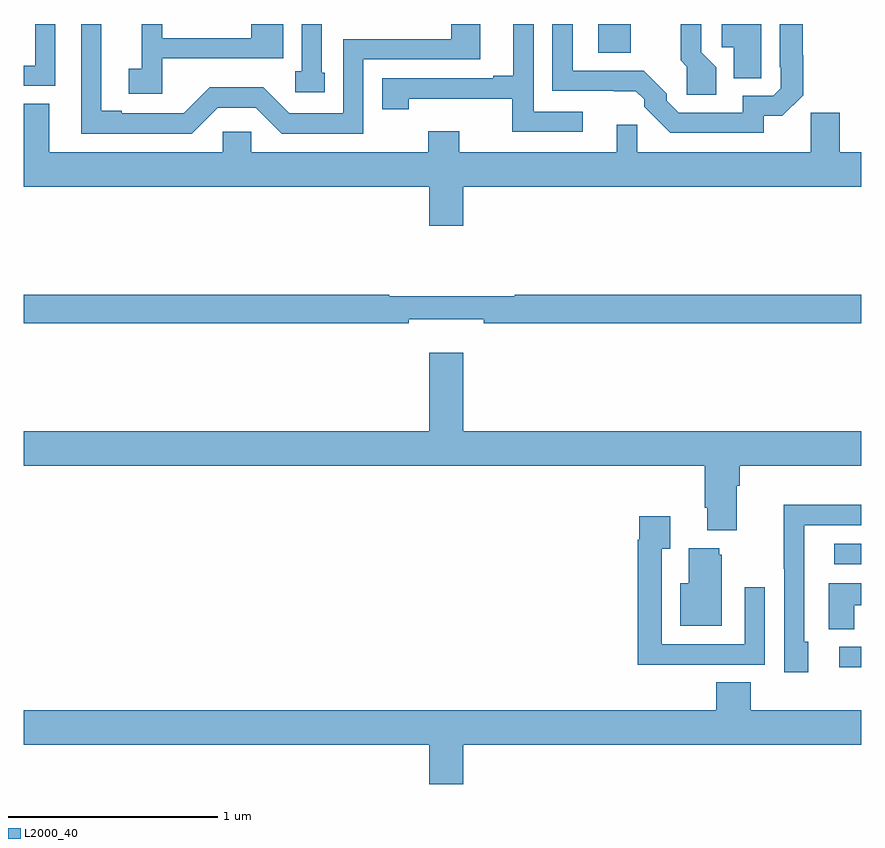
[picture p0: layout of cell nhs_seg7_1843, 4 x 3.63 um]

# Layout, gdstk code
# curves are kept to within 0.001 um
import gdstk
lib = gdstk.Library(unit=1e-6, precision=1e-09)
def R(c, l, rs):  # rectangles x0, y0, x1, y1
    for r in rs: c.add(gdstk.rectangle(r[:2], r[2:], *l))
def P(c, l, *ps):  # polygons
    for p in ps: c.add(gdstk.Polygon(p, *l))
L2000_40 = (2000, 40)

nhs_seg7_1843 = lib.new_cell('nhs_seg7_1843')
R(nhs_seg7_1843, L2000_40, [(238.893,1056.929,239,1057.026), (238.869,1057.422,239,1057.518)])
P(nhs_seg7_1843, L2000_40, [(235.926,1059.6),(236.109,1059.6),(236.232,1059.477),(236.622,1059.477),(236.622,1059.831),(237.181,1059.831),(237.181,1060),(237.041,1060),(237.041,1059.927),(236.526,1059.927),(236.526,1059.573),(236.268,1059.573),(236.144,1059.697),(235.89,1059.697),(235.766,1059.573),(235.468,1059.573),(235.468,1059.586),(235.372,1059.586),(235.372,1060),(235.275,1060),(235.275,1059.477),(235.803,1059.477)],
  [(236.437,1059.768),(236.424,1059.768),(236.424,1060),(236.328,1060),(236.328,1059.774),(236.298,1059.774),(236.298,1059.675),(236.437,1059.675)],
  [(238.533,1059.561),(238.622,1059.561),(238.722,1059.66),(238.722,1059.851),(238.72,1059.851),(238.72,1060),(238.611,1060),(238.611,1059.793),(238.614,1059.793),(238.614,1059.693),(238.578,1059.657),(238.434,1059.657),(238.434,1059.576),(238.128,1059.576),(238.071,1059.633),(238.071,1059.667),(237.961,1059.777),(237.621,1059.777),(237.621,1060),(237.525,1060),(237.525,1059.681),(237.922,1059.68),(237.963,1059.64),(237.963,1059.605),(238.088,1059.48),(238.533,1059.48)],
  [(238.521,1060),(238.332,1060),(238.332,1059.89),(238.391,1059.89),(238.391,1059.742),(238.521,1059.742)],
  [(235.152,1060),(235.056,1060),(235.056,1059.801),(235,1059.801),(235,1059.705),(235.152,1059.705)],
  [(237.67,1059.582),(237.435,1059.582),(237.435,1060),(237.338,1060),(237.338,1059.754),(237.242,1059.754),(237.242,1059.741),(236.712,1059.741),(236.712,1059.594),(236.84,1059.594),(236.84,1059.644),(237.334,1059.644),(237.334,1059.486),(237.67,1059.486)],
  [(237.898,1060),(237.746,1060),(237.744,1059.998),(237.744,1059.862),(237.898,1059.862)],
  [(238.306,1059.794),(238.236,1059.864),(238.236,1060),(238.138,1060),(238.138,1059.826),(238.167,1059.797),(238.167,1059.663),(238.306,1059.663)],
  [(235.662,1059.836),(236.129,1059.836),(236.129,1059.837),(236.239,1059.837),(236.239,1059.998),(236.086,1059.998),(236.086,1059.933),(235.662,1059.933),(235.662,1060),(235.565,1060),(235.565,1059.786),(235.503,1059.786),(235.503,1059.666),(235.662,1059.666)],
  [(237.1,1059.224),(239,1059.224),(239,1059.388),(238.897,1059.388),(238.897,1059.576),(238.759,1059.576),(238.759,1059.388),(237.929,1059.388),(237.929,1059.518),(237.833,1059.518),(237.833,1059.388),(237.079,1059.388),(237.079,1059.487),(236.932,1059.487),(236.932,1059.388),(236.088,1059.388),(236.088,1059.486),(235.95,1059.486),(235.95,1059.388),(235.123,1059.388),(235.123,1059.62),(235,1059.62),(235,1059.224),(236.936,1059.224),(236.936,1059.036),(237.1,1059.036)],
  [(236.84,1058.591),(237.196,1058.591),(237.196,1058.572),(239,1058.572),(239,1058.708),(237.345,1058.708),(237.345,1058.701),(236.745,1058.701),(236.745,1058.708),(235,1058.708),(235,1058.572),(236.84,1058.572)],
  [(238.405,1057.796),(238.418,1057.796),(238.418,1057.892),(239,1057.892),(239,1058.056),(237.1,1058.056),(237.1,1058.431),(236.936,1058.431),(236.936,1058.056),(235,1058.056),(235,1057.892),(238.253,1057.892),(238.253,1057.69),(238.265,1057.69),(238.265,1057.583),(238.405,1057.583)],
  [(238.747,1057.05),(238.728,1057.05),(238.728,1057.608),(239,1057.608),(239,1057.706),(238.63,1057.706),(238.63,1057.399),(238.632,1057.399),(238.632,1056.906),(238.747,1056.906)],
  [(238.223,1056.942),(238.539,1056.942),(238.539,1057.312),(238.443,1057.312),(238.443,1057.038),(238.047,1057.038),(238.047,1057.495),(238.087,1057.495),(238.087,1057.651),(237.939,1057.651),(237.939,1057.538),(237.931,1057.538),(237.931,1056.941),(238.223,1056.941)],
  [(238.333,1057.467),(238.322,1057.467),(238.322,1057.498),(238.175,1057.498),(238.175,1057.33),(238.136,1057.33),(238.136,1057.127),(238.333,1057.127)],
  [(238.965,1057.226),(239,1057.226),(239,1057.33),(238.844,1057.33),(238.844,1057.111),(238.965,1057.111)],
  [(237.1,1056.56),(239,1056.56),(239,1056.724),(238.472,1056.724),(238.472,1056.857),(238.307,1056.857),(238.307,1056.724),(235,1056.724),(235,1056.56),(236.936,1056.56),(236.936,1056.372),(237.1,1056.372)])

lib.write_gds('nhs_seg7_1843.gds')
